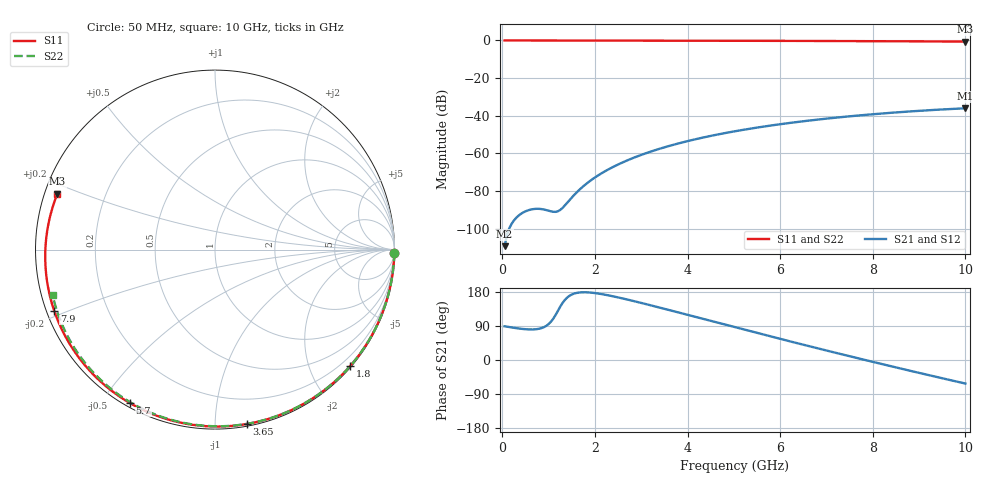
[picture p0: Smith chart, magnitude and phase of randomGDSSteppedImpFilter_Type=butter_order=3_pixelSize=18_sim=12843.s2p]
! freq	dB(S11)	phase(S11)	dB(S12)	phase(S12)
!  dB(S21)	phase(S21)	dB(S22)	phase(S22)
!S-par simulation data
#  GHz  S  DB  R 50
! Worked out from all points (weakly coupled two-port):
!   200 points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, 50 MHz to 10 GHz, reference 50 ohm
!   highest |S21| = -36.05 dB at 10 GHz (marker M1); lowest = -109.4 dB at 50 MHz (marker M2)
!   lowest |S11| = -0.6 dB at 10 GHz (marker M3), VSWR 28.18, Z = 1.83 + j8.61 ohm
!   |S11| at or under -10 dB: nowhere
!   |S22| runs from -0.5 to 0.0 dB; largest |S21 - S12| = 0
!   S11 on the Smith chart (normalised r, x): 50 MHz: open; 1.8 GHz: 0.02, -2.69; 3.65 GHz: 0.01, -1.20; 5.7 GHz: 0.02, -0.59; 7.9 GHz: 0.02, -0.19; 10 GHz: 0.04, +0.17
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0.05  -0.00 -1.1  -109.35 88.9  -109.35 88.9  -0.00 -0.9
0.45  -0.02 -10.3  -91.45 81.8  -91.45 81.8  -0.01 -8.6
0.8  -0.02 -18.4  -89.52 82.6  -89.52 82.6  -0.02 -15.3
1.2  -0.03 -27.4  -90.81 129.5  -90.81 129.5  -0.03 -22.8
1.6  -0.05 -36.3  -80.91 176.8  -80.91 176.8  -0.04 -30.3
1.65  -0.05 -37.5  -79.71 177.9  -79.71 177.9  -0.04 -31.2
1.75  -0.05 -39.7  -77.50 178.8  -77.50 178.8  -0.04 -33.1
1.8  -0.05 -40.8  -76.47 178.7  -76.47 178.7  -0.04 -34.0
2.1  -0.06 -47.3  -71.25 174.8  -71.25 174.8  -0.05 -39.5
2.45  -0.07 -54.8  -66.53 166.5  -66.53 166.5  -0.06 -45.8
2.9  -0.08 -64.3  -61.75 153.7  -61.75 153.7  -0.07 -53.8
3.4  -0.10 -74.7  -57.55 138.2  -57.55 138.2  -0.08 -62.6
3.65  -0.11 -79.7  -55.76 130.3  -55.76 130.3  -0.09 -66.9
4.35  -0.13 -93.5  -51.53 108.0  -51.53 108.0  -0.11 -78.6
5.05  -0.16 -106.9  -48.15 85.7  -48.15 85.7  -0.14 -90.0
5.7  -0.20 -119.0  -45.57 65.2  -45.57 65.2  -0.17 -100.2
6.7  -0.26 -137.2  -42.37 34.2  -42.37 34.2  -0.22 -115.5
7.3  -0.31 -148.0  -40.80 16.0  -40.80 16.0  -0.27 -124.4
7.9  -0.37 -159.0  -39.43 -1.9  -39.43 -1.9  -0.31 -133.2
8.35  -0.41 -167.3  -38.54 -15.2  -38.54 -15.2  -0.36 -139.8
9.2  -0.51 176.5  -37.11 -39.7  -37.11 -39.7  -0.44 -152.4
10  -0.62 160.4  -36.05 -62.1  -36.05 -62.1  -0.54 -164.4
